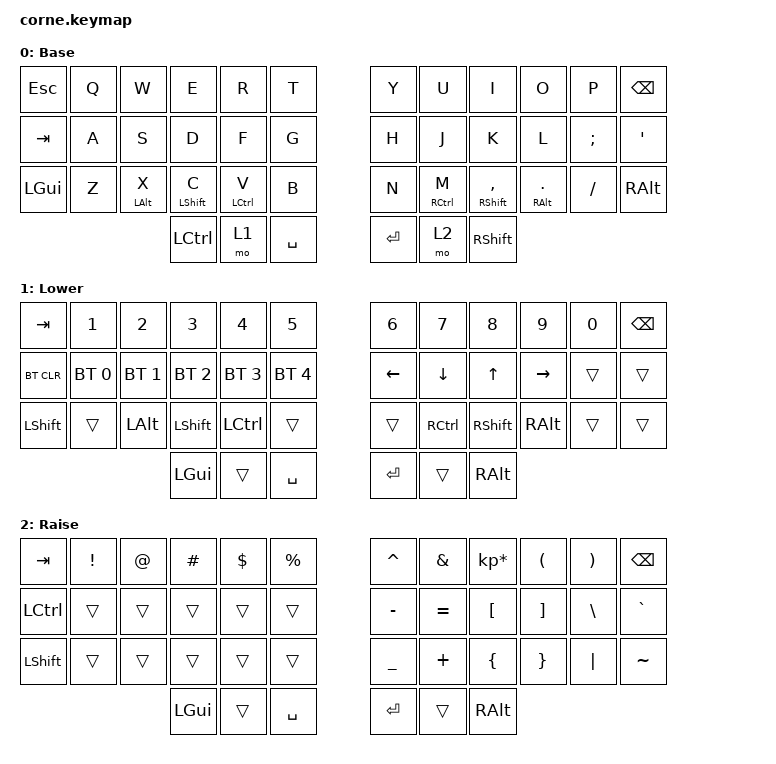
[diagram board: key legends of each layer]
/*
 * Copyright (c) 2020 The ZMK Contributors
 *
 * SPDX-License-Identifier: MIT
 */

#include <behaviors.dtsi>
#include <dt-bindings/zmk/bt.h>
#include <dt-bindings/zmk/keys.h>

/ {
    behaviors {
        hold_tap: hold_tap {
            compatible = "zmk,behavior-hold-tap";
            label = "HOLD_TAP";
            bindings = <&kp>, <&kp>;

            #binding-cells = <2>;
            tapping-term-ms = <200>;
            flavor = "tap-preferred";
        };
    };

    keymap {
        compatible = "zmk,keymap";

        default_layer {
            // -----------------------------------------------------------------------------------------
            // |  TAB |  Q  |  W  |  E  |  R  |  T  |   |  Y  |  U   |  I  |  O  |  P  | BKSP |
            // | CTRL |  A  |  S  |  D  |  F  |  G  |   |  H  |  J   |  K  |  L  |  ;  |  '   |
            // | SHFT |  Z  |  X  |  C  |  V  |  B  |   |  N  |  M   |  ,  |  .  |  /  | ESC  |
            //                    | GUI | LWR | SPC |   | ENT | RSE  | ALT |

            display-name = "Base";
            bindings = <
&kp ESCAPE    &kp Q  &kp W                 &kp E              &kp R              &kp T        &kp Y    &kp U              &kp I                  &kp O                       &kp P     &kp BSPC
&kp TAB       &kp A  &kp S                 &kp D              &kp F              &kp G        &kp H    &kp J              &kp K                  &kp L                       &kp SEMI  &kp SQT
&kp LEFT_GUI  &kp Z  &hold_tap LEFT_ALT X  &hold_tap LSHFT C  &hold_tap LCTRL V  &kp B        &kp N    &hold_tap RCTRL M  &hold_tap RSHFT COMMA  &hold_tap RIGHT_ALT PERIOD  &kp FSLH  &kp RIGHT_ALT
                                           &kp LCTRL          &mo 1              &kp SPACE    &kp RET  &mo 2              &kp RIGHT_SHIFT
            >;
        };

        lower_layer {
            // -----------------------------------------------------------------------------------------
            // |  TAB |  1  |  2  |  3  |  4  |  5  |   |  6  |  7  |  8  |  9  |  0  | BKSP |
            // | BTCLR| BT1 | BT2 | BT3 | BT4 | BT5 |   | LFT | DWN |  UP | RGT |     |      |
            // | SHFT |     |     |     |     |     |   |     |     |     |     |     |      |
            //                    | GUI |     | SPC |   | ENT |     | ALT |

            display-name = "Lower";
            bindings = <
&kp TAB     &kp N1        &kp N2        &kp N3        &kp N4        &kp N5          &kp N6    &kp N7     &kp N8     &kp N9         &kp N0  &kp BSPC
&bt BT_CLR  &bt BT_SEL 0  &bt BT_SEL 1  &bt BT_SEL 2  &bt BT_SEL 3  &bt BT_SEL 4    &kp LEFT  &kp DOWN   &kp UP     &kp RIGHT      &trans  &trans
&kp LSHFT   &trans        &kp LEFT_ALT  &kp LSHFT     &kp LCTRL     &trans          &trans    &kp RCTRL  &kp RSHFT  &kp RIGHT_ALT  &trans  &trans
                                        &kp LGUI      &trans        &kp SPACE       &kp RET   &trans     &kp RALT
            >;
        };

        raise_layer {
            // -----------------------------------------------------------------------------------------
            // |  TAB |  !  |  @  |  #  |  $  |  %  |   |  ^  |  &  |  *  |  (  |  )  | BKSP |
            // | CTRL |     |     |     |     |     |   |  -  |  =  |  [  |  ]  |  \  |  `   |
            // | SHFT |     |     |     |     |     |   |  _  |  +  |  {  |  }  | "|" |  ~   |
            //                    | GUI |     | SPC |   | ENT |     | ALT |

            display-name = "Raise";
            bindings = <
&kp TAB    &kp EXCL  &kp AT  &kp HASH  &kp DLLR  &kp PRCNT    &kp CARET  &kp AMPS   &kp KP_MULTIPLY  &kp LPAR  &kp RPAR  &kp BSPC
&kp LCTRL  &trans    &trans  &trans    &trans    &trans       &kp MINUS  &kp EQUAL  &kp LBKT         &kp RBKT  &kp BSLH  &kp GRAVE
&kp LSHFT  &trans    &trans  &trans    &trans    &trans       &kp UNDER  &kp PLUS   &kp LBRC         &kp RBRC  &kp PIPE  &kp TILDE
                             &kp LGUI  &trans    &kp SPACE    &kp RET    &trans     &kp RALT
            >;
        };
    };
};
